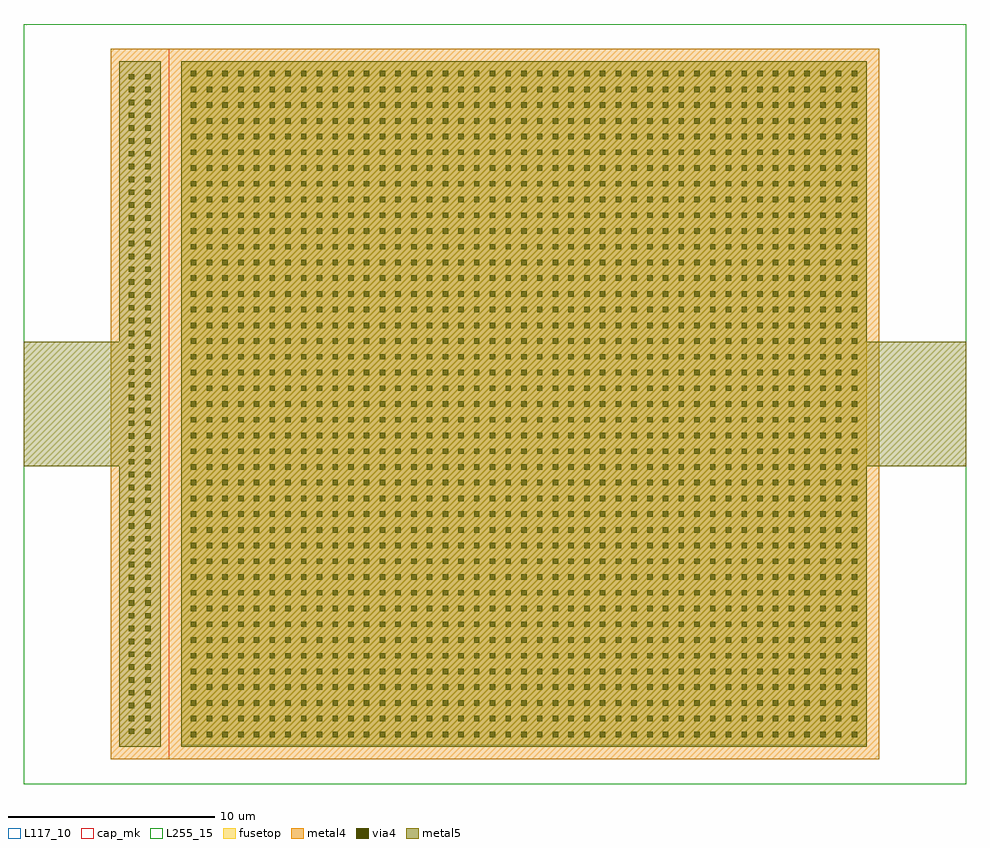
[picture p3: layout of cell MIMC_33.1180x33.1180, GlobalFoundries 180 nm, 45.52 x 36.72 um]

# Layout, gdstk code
import gdstk
lib = gdstk.Library(unit=1e-6, precision=1e-09)
def R(c, l, rs):  # rectangles x0, y0, x1, y1
    for r in rs: c.add(gdstk.rectangle(r[:2], r[2:], *l))
def A(c, l, x, y, w, h, nx, ny, dx, dy):  # array of equal rectangles
    R(c, l, [(x+i*dx, y+j*dy, x+i*dx+w, y+j*dy+h) for i in range(nx) for j in range(ny)])
via4 = (41, 0)
metal4 = (46, 0)
fusetop = (75, 0)
metal5 = (81, 0)
cap_mk = (117, 5)
L117_10 = (117, 10)
L255_15 = (255, 15)

mimc_33_1180x33_1180 = lib.new_cell('MIMC_33.1180x33.1180')
A(mimc_33_1180x33_1180, via4, 0.469, 0.469, 0.26, 0.26, 43, 43, 0.76, 0.76)
A(mimc_33_1180x33_1180, via4, -2.53, 0.619, 0.26, 0.26, 1, 52, 0, 0.62)
A(mimc_33_1180x33_1180, via4, -1.73, 0.619, 0.26, 0.26, 1, 52, 0, 0.62)
R(mimc_33_1180x33_1180, metal4, [(-3.4,-0.6,0,33.718), (-0.6,-0.6,33.718,33.718)])
R(mimc_33_1180x33_1180, fusetop, [(0,0,33.118,33.118)])
R(mimc_33_1180x33_1180, metal5, [(-3,0,-1,33.118), (0,0,33.118,33.118), (-7.6,13.559,-3,19.559), (32.118,13.559,37.918,19.559)])
R(mimc_33_1180x33_1180, cap_mk, [(-0.6,-0.6,33.718,33.718)])
R(mimc_33_1180x33_1180, L117_10, [(0,0,33.118,0.1)])
R(mimc_33_1180x33_1180, L255_15, [(-7.6,-1.8,37.918,34.918)])

lib.write_gds('MIMC_33.1180x33.1180.gds')
